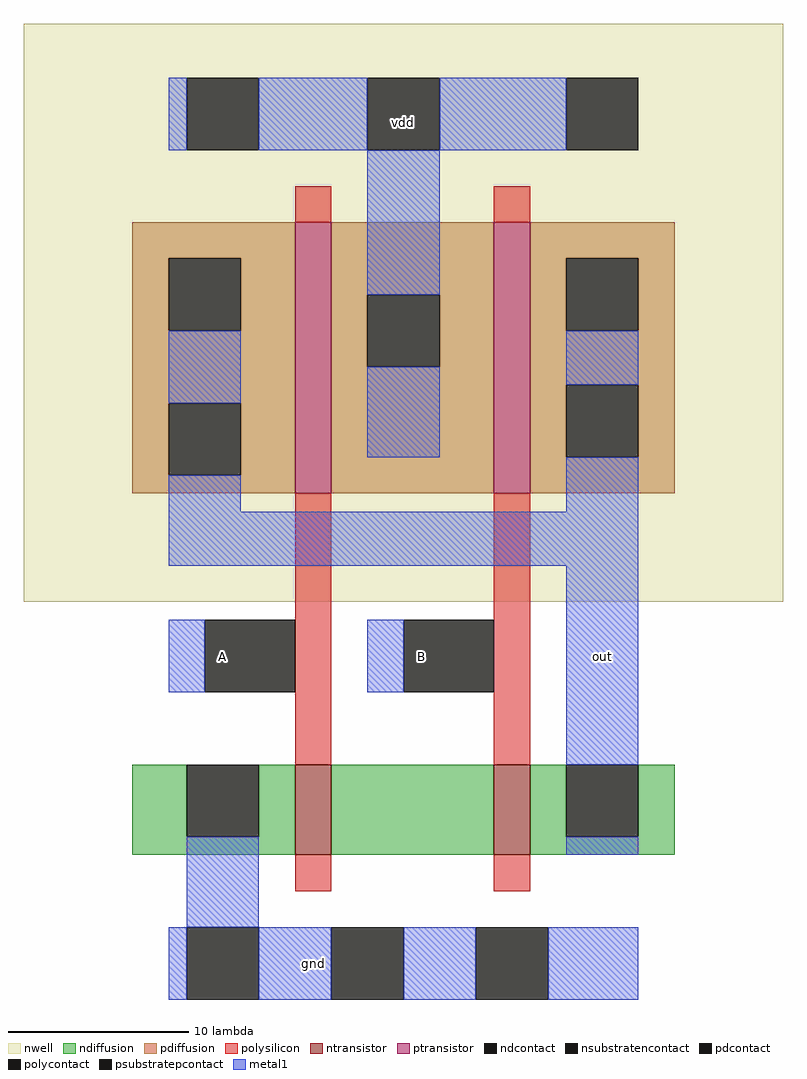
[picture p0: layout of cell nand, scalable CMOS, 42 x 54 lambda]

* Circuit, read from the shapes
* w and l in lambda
.subckt nand A B gnd out vdd
M1 n1 A gnd gnd nfet w=5 l=2
M2 out B n1 gnd nfet w=5 l=2
M3 vdd A out vdd pfet w=15 l=2
M4 out B vdd vdd pfet w=15 l=2
.ends

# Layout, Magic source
magic
tech scmos
<< nwell >>
rect 3 -4 45 28
<< ntransistor >>
rect 18 -18 20 -13
rect 29 -18 31 -13
<< ptransistor >>
rect 18 2 20 17
rect 29 2 31 17
<< ndiffusion >>
rect 9 -17 12 -13
rect 16 -17 18 -13
rect 9 -18 18 -17
rect 20 -18 29 -13
rect 31 -17 33 -13
rect 37 -17 39 -13
rect 31 -18 39 -17
<< pdiffusion >>
rect 9 15 18 17
rect 9 11 11 15
rect 15 11 18 15
rect 9 7 18 11
rect 9 3 11 7
rect 15 3 18 7
rect 9 2 18 3
rect 20 13 29 17
rect 20 9 22 13
rect 26 9 29 13
rect 20 2 29 9
rect 31 15 39 17
rect 31 11 33 15
rect 37 11 39 15
rect 31 8 39 11
rect 31 4 33 8
rect 37 4 39 8
rect 31 2 39 4
<< ndcontact >>
rect 12 -17 16 -13
rect 33 -17 37 -13
<< pdcontact >>
rect 11 11 15 15
rect 11 3 15 7
rect 22 9 26 13
rect 33 11 37 15
rect 33 4 37 8
<< psubstratepcontact >>
rect 12 -26 16 -22
rect 20 -26 24 -22
rect 28 -26 32 -22
<< nsubstratencontact >>
rect 12 21 16 25
rect 22 21 26 25
rect 33 21 37 25
<< polysilicon >>
rect 18 17 20 19
rect 29 17 31 19
rect 18 -13 20 2
rect 29 -13 31 2
rect 18 -20 20 -18
rect 29 -20 31 -18
<< polycontact >>
rect 13 -9 18 -5
rect 24 -9 29 -5
<< metal1 >>
rect 11 21 12 25
rect 16 21 22 25
rect 26 21 33 25
rect 11 7 15 11
rect 22 13 26 21
rect 22 4 26 9
rect 33 8 37 11
rect 11 1 15 3
rect 33 1 37 4
rect 11 -2 37 1
rect 11 -9 13 -5
rect 22 -9 24 -5
rect 33 -13 37 -2
rect 12 -22 16 -17
rect 33 -18 37 -17
rect 11 -26 12 -22
rect 16 -26 20 -22
rect 24 -26 28 -22
rect 32 -26 37 -22
<< labels >>
rlabel nsubstratencontact 23 22 25 23 1 vdd
rlabel polycontact 14 -7 14 -7 1 A
rlabel polycontact 25 -7 25 -7 1 B
rlabel metal1 35 -7 35 -7 1 out
rlabel metal1 19 -24 19 -24 1 gnd
<< end >>
